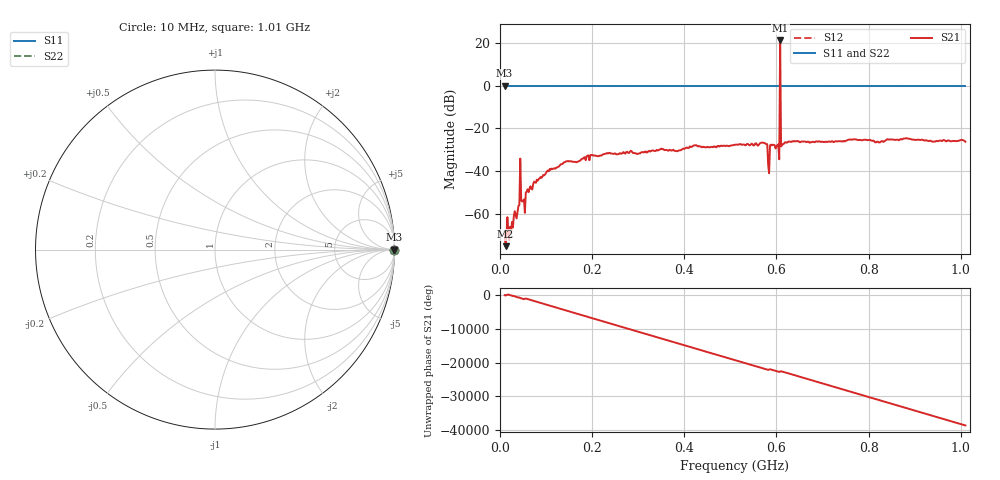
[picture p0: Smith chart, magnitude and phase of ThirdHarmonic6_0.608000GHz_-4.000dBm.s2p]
! 8/15/2025 7:53:50 PM
! C:\ANRITSUVNA\TEMP\TEMP.S2P
! CHANNEL.1
! TR.MEASUREMENT
! RAW.DATA
! RF.CORRECTION.OFF
! AVERAGING.OFF
! IF.BANDWIDTH: 5KHZ
! SWEEPTYPE:  FREQ.SWEEP(Linear)
! Reference Plane Port Info
! PORT:  PORT1  PORT2
! DISTANCE:  0  m  0  m
! TIME:  0  s  0  s
! PHASE.OFFSET:  0  deg.  0  deg.
! LOSS:  0  dB  0  dB
! REF.LOSS:  0  dB  0  dB
! REF.FREQ:  0  Hz  0  Hz
! Power Info
! POWER:  -20  dBm  -20  dBm
! EFF.POWER:  -20  dBm  -20  dBm
! SOURCE.ATTEN:  0  dB  0  dB
! TEST.ATTEN:  0  dB  0  dB
# GHZ S RI R 50.0
! FREQ.GHZ  S11RE  S11IM  S21RE  S21IM  S12RE  S12IM  S22RE  S22IM
!; PortSelection: Port_12
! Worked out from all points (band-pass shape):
!   501 points, 10 MHz to 1.01 GHz, reference 50 ohm
!   highest |S21| = 21.23 dB at 608 MHz (marker M1); lowest = -75.2 dB at 12 MHz (marker M2)
!   |S21| within 3 dB of the highest: 607.8923 MHz to 608.1207 MHz (228.5 kHz wide, 0.0376 % of centre)
!   lowest |S11| = 0.0 dB at 10 MHz (marker M3)
!   |S11| at or under -10 dB: nowhere
!   |S22| runs from 0.0 to 0.0 dB; largest |S21 - S12| = 11
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0.01  1 0  0.000366 0.000112  1 0  1 0
0.012  1 0  -1.64e-05 -0.000173  1 0  1 0
0.024  1 0  -2.46e-05 -0.000344  1 0  1 0
0.042  1 0  0.00128 0.000967  1 0  1 0
0.048  1 0  0.00059 0.00184  1 0  1 0
0.05  1 0  0.00195 -0.000505  1 0  1 0
0.062  1 0  -0.00287 -0.00142  1 0  1 0
0.104  1 0  0.00587 -0.00849  1 0  1 0
0.178  1 0  -0.0191 -0.00384  1 0  1 0
0.344  1 0  0.0294 -0.00911  1 0  1 0
0.51  1 0  -0.0366 0.0195  1 0  1 0
0.572  1 0  -0.0459 0.00318  1 0  1 0
0.586  1 0  0.0354 -0.0181  1 0  1 0
0.59  1 0  -0.0396 0.00552  1 0  1 0
0.602  1 0  0.0216 0.0342  1 0  1 0
0.604  1 0  0.0389 -0.016  1 0  1 0
0.608  1 0  10.13 -5.494  1 0  1 0
0.612  1 0  0.0386 0.0119  1 0  1 0
0.614  1 0  0.02 -0.0381  1 0  1 0
0.678  1 0  -0.0279 -0.0398  1 0  1 0
0.844  1 0  0.0456 0.0304  1 0  1 0
1.01  1 0  -0.0486 -0.00343  1 0  1 0
